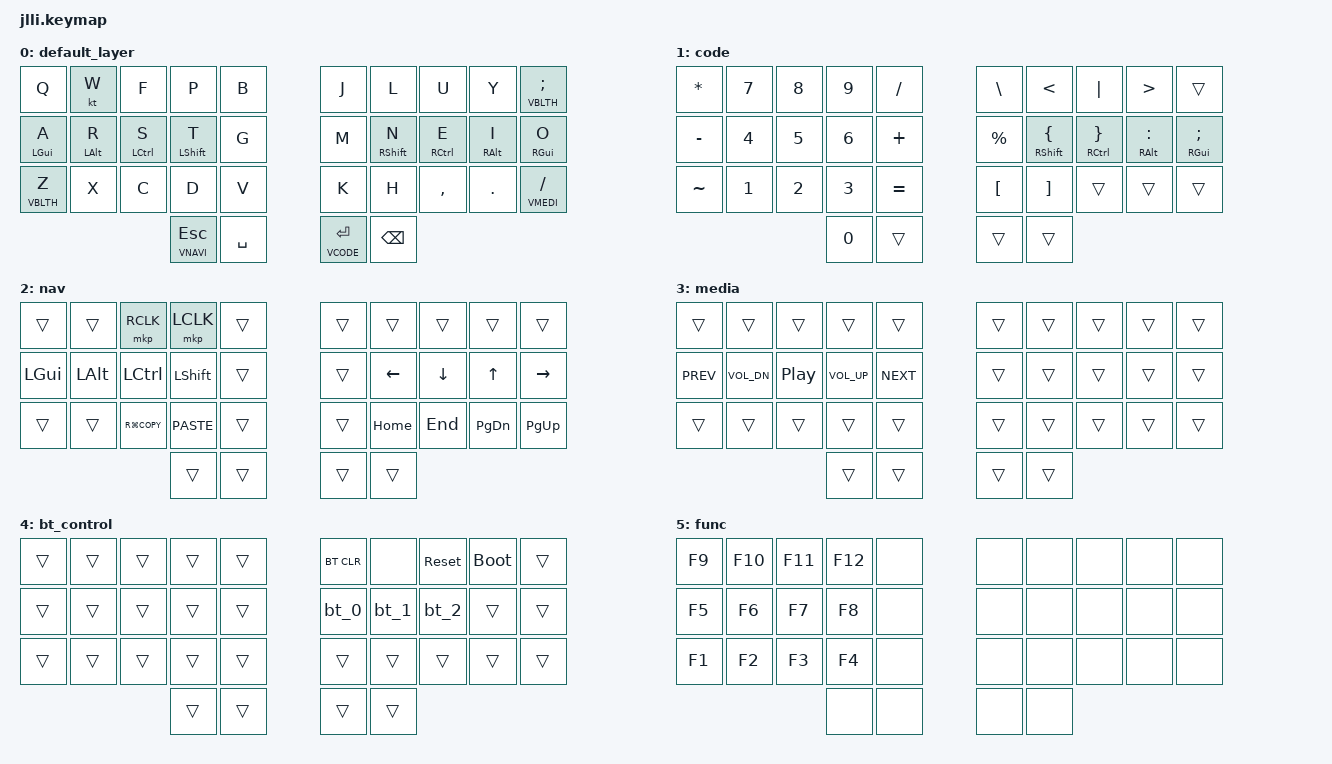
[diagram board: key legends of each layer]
#include <behaviors.dtsi>
#include <dt-bindings/zmk/bt.h>
#include <dt-bindings/zmk/keys.h>
#include <dt-bindings/zmk/keys.h>
#include <dt-bindings/zmk/outputs.h>

#define VBASE 0
#define VCODE 1
#define VNAVI 2
#define VMEDI 3
#define VBLTH 4
#define VFUNC 4

#define HAS_MOUSE_KEYS
#define HAS_MOUSE_TP

// Personal includes
#ifdef HAS_MOUSE_KEYS
     #include "includes/mouse_keys.dtsi"
#endif

#ifdef HAS_MOUSE_TP
     #include "includes/mouse_tp.dtsi"
#endif

/ {
    behaviors {
        hml: hml {
            compatible = "zmk,behavior-hold-tap";
            label = "HML";
            bindings = <&kp>, <&kp>;

            #binding-cells = <2>;
            hold-trigger-on-release;
            hold-trigger-key-positions = <32 33 31 30 25 26 27 28 29 19 18 17 16 15 5 6 7 8 9>;
            tapping-term-ms = <200>;
            quick-tap-ms = <175>;
            require-prior-idle-ms = <150>;
            flavor = "balanced";
        };

        hmr: hmr {
            compatible = "zmk,behavior-hold-tap";
            label = "HMR";
            bindings = <&kp>, <&kp>;

            #binding-cells = <2>;
            hold-trigger-on-release;
            hold-trigger-key-positions = <32 33 31 30 22 20 21 23 24 14 13 12 11 10 0 1 2 3 4>;
            tapping-term-ms = <200>;
            quick-tap-ms = <175>;
            require-prior-idle-ms = <150>;
            flavor = "balanced";
        };
    };

    combos {
        compatible = "zmk,combos";

        cmb_under {
            bindings = <&kp UNDERSCORE>;
            key-positions = <26 27>;
        };

        cmb_minus {
            bindings = <&kp MINUS>;
            key-positions = <27 28>;
        };

        cmb_tab {
            bindings = <&kp TAB>;
            key-positions = <1 8>;
        };

        cmb_single {
            bindings = <&kp SINGLE_QUOTE>;
            key-positions = <2 7>;
        };

        cmb_dbl {
            bindings = <&kp DOUBLE_QUOTES>;
            key-positions = <3 6>;
        };

        cmb_caps {
            bindings = <&caps_word>;
            key-positions = <23 26>;
        };

        cmb_skinny {
            bindings = <&skinny_arrow>;
            key-positions = <13 16>;
        };

        cmb_pipe {
            bindings = <&pipe_opr>;
            key-positions = <14 15>;
        };

        cmb_save {
            bindings = <&vim_save>;
            key-positions = <30 1>;
        };

        cmb_fat {
            bindings = <&fat_arrow>;
            key-positions = <13 16 30>;
        };
    };

    macros {
        vim_save: vim_save {
            compatible = "zmk,behavior-macro";
            #binding-cells = <0>;
            bindings = <&kp ESCAPE &kp COLON &kp W &kp ENTER>;
            label = "VIM_SAVE";
        };

        skinny_arrow: skinny_arrow {
            compatible = "zmk,behavior-macro";
            #binding-cells = <0>;
            bindings = <&kp MINUS &kp GREATER_THAN>;
            label = "SKINNY_ARROW";
        };

        fat_arrow: fat_arrow {
            compatible = "zmk,behavior-macro";
            #binding-cells = <0>;
            bindings = <&kp EQUAL &kp GREATER_THAN>;
            label = "FAT_ARROW";
        };

        pipe_opr: pipe_opr {
            compatible = "zmk,behavior-macro";
            #binding-cells = <0>;
            bindings = <&kp PIPE &kp GREATER_THAN>;
            label = "PIPE_OPR";
        };

        bt_0: bt_0 {
            compatible = "zmk,behavior-macro";
            #binding-cells = <0>;
            bindings = <&out OUT_BLE &bt BT_SEL 0>;
            label = "BT_0";
        };

        bt_1: bt_1 {
            compatible = "zmk,behavior-macro";
            #binding-cells = <0>;
            bindings = <&out OUT_BLE &bt BT_SEL 1>;
            label = "BT_1";
        };

        bt_2: bt_2 {
            compatible = "zmk,behavior-macro";
            #binding-cells = <0>;
            bindings = <&out OUT_BLE &bt BT_SEL 2>;
            label = "BT_2";
        };
    };

    keymap {
        compatible = "zmk,keymap";

        default_layer {
            bindings = <
&kp Q        &kt W          &kp F          &kp P         &kp B           &kp J          &kp L           &kp U            &kp Y           &lt VBLTH SEMI
&hml LGUI A  &hml LALT R    &hml LCTRL S   &hml LSHFT T  &kp G           &kp M          &hmr RSHFT N    &hmr RCTRL E     &hmr RALT I     &hmr RGUI O
&lt VBLTH Z  &kp X          &kp C          &kp D         &kp V           &kp K          &kp H           &kp COMMA        &kp PERIOD      &lt VMEDI SLASH
                                           &lt VNAVI ESC &kp SPACE       &lt VCODE RET  &kp BSPC
            >;
        };

        code {
            bindings = <
&kp ASTRK    &kp N7         &kp N8         &kp N9        &kp SLASH       &kp BSLH       &kp LT          &kp PIPE         &kp GT           &trans
&kp MINUS    &kp N4         &kp N5         &kp N6        &kp PLUS        &kp PRCNT      &hmr RSHFT LBRC &hmr RCTRL RBRC  &hmr RALT COLON  &hmr RGUI SEMI
&kp TILDE    &kp N1         &kp N2         &kp N3        &kp EQUAL       &kp LBKT       &kp RBKT        &trans           &trans           &trans
                                           &kp N0        &trans          &trans         &trans
            >;
        };

        nav {
            bindings = <
&trans      &trans         &mkp RCLK       &mkp LCLK     &trans          &trans         &trans         &trans           &trans            &trans
&kp LGUI    &kp LALT       &kp LCTRL       &kp LSHFT     &trans          &trans         &kp LEFT       &kp DOWN         &kp UP            &kp RIGHT
&trans      &trans         &kp RG(K_COPY)  &kp K_PASTE   &trans          &trans         &kp HOME       &kp END          &kp PAGE_DOWN     &kp PAGE_UP
                                           &trans        &trans          &trans         &trans
            >;
        };

        media {
            bindings = <
&trans      &trans         &trans          &trans        &trans          &trans         &trans        &trans            &trans            &trans
&kp C_PREV  &kp C_VOL_DN   &kp C_PP        &kp C_VOL_UP  &kp C_NEXT      &trans         &trans        &trans            &trans            &trans
&trans      &trans         &trans          &trans        &trans          &trans         &trans        &trans            &trans            &trans
                                           &trans        &trans          &trans         &trans
            >;
        };

        bt_control {
            bindings = <
&trans      &trans        &trans          &trans         &trans         &bt BT_CLR      &none         &sys_reset        &bootloader       &trans
&trans      &trans        &trans          &trans         &trans         &bt_0           &bt_1         &bt_2             &trans            &trans
&trans      &trans        &trans          &trans         &trans         &trans          &trans        &trans            &trans            &trans
                                          &trans         &trans         &trans          &trans
            >;
        };

        func {
            bindings = <
&kp F9      &kp F10       &kp F11         &kp F12        &none          &none           &none         &none             &none            &none 
&kp F5      &kp F6        &kp F7          &kp F8         &none          &none           &none         &none             &none            &none
&kp F1      &kp F2        &kp F3          &kp F4         &none          &none           &none         &none             &none            &none
                                          &none          &none          &none           &none
            >;
        };
    };
};
